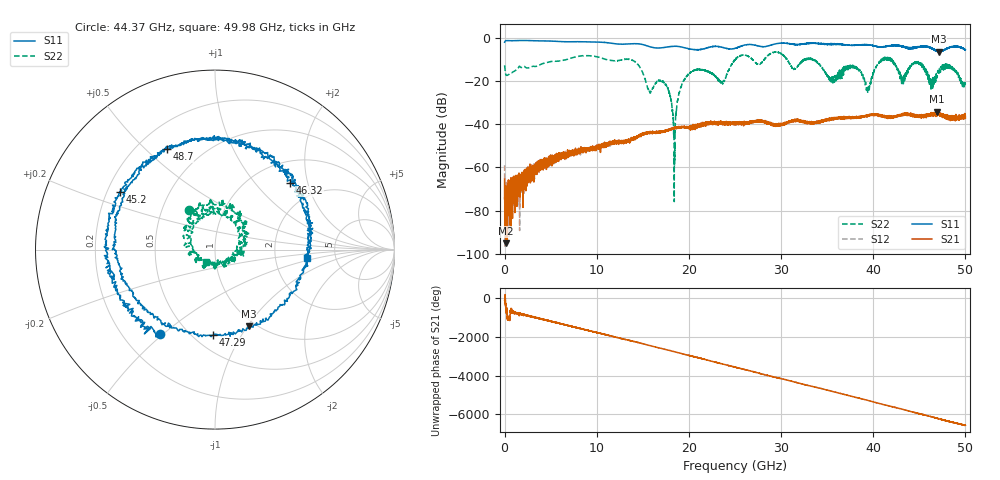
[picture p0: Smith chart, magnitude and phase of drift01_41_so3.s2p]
!Created with skrf (http://scikit-rf.org).
# Hz S RI R 50.0
!freq ReS11 ImS11 ReS21 ImS21 ReS12 ImS12 ReS22 ImS22
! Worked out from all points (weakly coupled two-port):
!   10001 points, 300 kHz to 50 GHz, reference 50 ohm
!   highest |S21| = -34.31 dB at 46.92 GHz (marker M1); lowest = -95.0 dB at 125.3 MHz (marker M2)
!   lowest |S11| = -6.6 dB at 47.12 GHz (marker M3), VSWR 2.75, Z = 46.3 - j50.7 ohm
!   |S11| at or under -10 dB: nowhere
!   |S22| runs from -75.8 to -6.6 dB; largest |S21 - S12| = 0.0033
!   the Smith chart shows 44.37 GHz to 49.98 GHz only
!   S11 on the Smith chart (normalised r, x): 44.37 GHz: 0.36, -0.49; 45.2 GHz: 0.25, +0.26; 46.32 GHz: 1.45, +1.56; 47.29 GHz: 0.62, -0.76; 48.7 GHz: 0.32, +0.58; 49.98 GHz: 3.08, -0.40
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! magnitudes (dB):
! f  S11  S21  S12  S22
! 300 kHz  -2.1  -65.4  -59.0  -12.9
! 125.3 MHz  -1.5  -95.0  -77.7  -17.1
! 8.335 GHz  -1.9  -52.2  -52.6  -8.5
! 16.67 GHz  -4.8  -43.9  -43.7  -19.9
! 17.74 GHz  -4.3  -43.0  -42.8  -23.8
! 18.43 GHz  -4.1  -41.9  -42.0  -59.4
! 19.9 GHz  -5.1  -41.5  -41.5  -17.1
! 23.6 GHz  -4.5  -40.2  -39.5  -20.6
! 25 GHz  -5.0  -39.4  -40.0  -10.3
! 33.34 GHz  -2.6  -39.0  -39.2  -9.9
! 39.46 GHz  -3.3  -36.1  -36.0  -23.4
! 41.67 GHz  -3.9  -36.8  -36.9  -9.7
! 43.19 GHz  -4.2  -35.4  -36.0  -18.9
! 44.37 GHz  -5.0  -36.0  -35.8  -11.7
! 45.2 GHz  -4.2  -36.6  -36.5  -12.5
! 46.32 GHz  -5.1  -35.3  -35.8  -20.4
! 46.92 GHz  -6.1  -34.3  -35.6  -18.5
! 47.12 GHz  -6.6  -35.6  -35.6  -16.8
! 47.29 GHz  -6.4  -36.2  -35.6  -15.8
! 48.7 GHz  -4.1  -37.0  -37.2  -14.3
! 49.98 GHz  -5.7  -37.2  -36.4  -21.2
! 50 GHz  -5.7  -37.2  -36.1  -21.7
